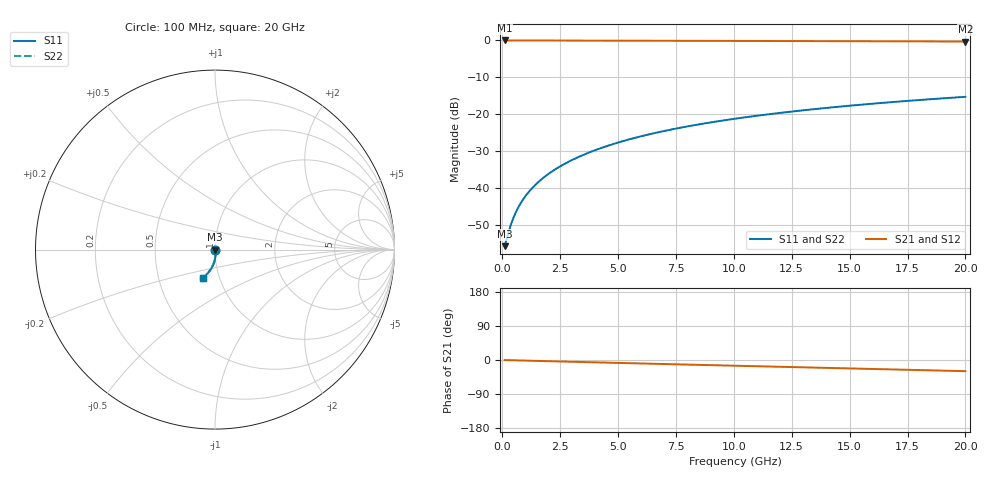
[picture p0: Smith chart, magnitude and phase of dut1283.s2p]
! Touchstone file exported from HFSS 2026.1.0
!  File:  C:/ffzhzh/LocalFiles/Ansys_Project_Files/temp_train_BSMRDL_1283_1783177887_43440.aedt
!  Generated:  11:12:34 PM Jul  4, 2026
!  Design:  BSMRDL
!  Project:  temp_train_BSMRDL_1283_1783177887_43440
! Variables:
!  h_bsmrdl = 5.25um
!  h_ox = 20um
!  h_rdl = 5um
!  h_sub = 80um
!  h_tmrdl = 5um
!  h_tsv = 80um
!  h_via = 3um
!  l_bsmrdl = 493.82um
!  l_sub = 893.82um
!  l_tmrdl = 200um
!  m_sub = 200um
!  pitch = 27.69um
!  r_tsv = 6um
!  s_tmrdl = 10um
!  w_bsmrdl = 25.41um
!  w_sub = 500um
!  w_tmrdl = 12um
!  x_tsv_center1 = 206um
!  x_tsv_center2 = 725.23um
!  x_tsv_center3 = 937.23um
!  x_tsv_center4 = 1456.46um
!  x_tsv_center5 = 1668.46um
!  x_tsv_center6 = 2187.69um
# GHz S MA R 50.000000
! Terminal data exported
! Port[1] = BSM_RDL1_1_T1
! Port[2] = BSM_RDL1_1_T2
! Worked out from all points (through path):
!   200 points, 100 MHz to 20 GHz, reference 50 ohm
!   highest |S21| = -0.01 dB at 100 MHz (marker M1); lowest = -0.3 dB at 20 GHz (marker M2)
!   group delay of S21, straight-line fit = 4.07 ps
!   lowest |S11| = -55.7 dB at 100 MHz (marker M3), VSWR 1.00, Z = 50.2 - j0.0219 ohm
!   |S11| at or under -10 dB: start of sweep to end of sweep
!   |S22| runs from -55.7 to -15.3 dB; largest |S21 - S12| = 2.6e-15
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0.1  0.001647 -7.6  0.9984 -0.2  0.9984 -0.2  0.001647 -7.6
! Gamma 0 0 0 0
! Port Impedance 50 0 50 0
0.3  0.002743 -30.7  0.9976 -0.5  0.9976 -0.5  0.002743 -30.7
0.4  0.003414 -40.1  0.9974 -0.7  0.9974 -0.7  0.003414 -40.1
0.5  0.004116 -47.5  0.9972 -0.8  0.9972 -0.8  0.004116 -47.5
0.6  0.004838 -53.1  0.997 -1.0  0.997 -1.0  0.004838 -53.1
0.7  0.005573 -57.5  0.9969 -1.1  0.9969 -1.1  0.005572 -57.5
0.9  0.00707 -63.8  0.9967 -1.4  0.9967 -1.4  0.007069 -63.9
1.2  0.009363 -69.7  0.9964 -1.9  0.9964 -1.9  0.009362 -69.8
1.4  0.01092 -72.4  0.9962 -2.2  0.9962 -2.2  0.01092 -72.4
1.7  0.01328 -75.2  0.9959 -2.7  0.9959 -2.7  0.01328 -75.2
2.2  0.01732 -78.4  0.9954 -3.5  0.9954 -3.5  0.01732 -78.4
2.8  0.0223 -80.9  0.9946 -4.4  0.9946 -4.4  0.0223 -81.0
3.5  0.02828 -83.2  0.9936 -5.4  0.9936 -5.4  0.02827 -83.2
4.2  0.0344 -85.0  0.9926 -6.5  0.9926 -6.5  0.0344 -85.1
5  0.04153 -87.0  0.9914 -7.7  0.9914 -7.7  0.04152 -87.0
5.9  0.04964 -89.0  0.9901 -9.0  0.9901 -9.0  0.04963 -89.0
6.8  0.0578 -90.9  0.9888 -10.4  0.9888 -10.4  0.05779 -91.0
8.3  0.07142 -93.9  0.9866 -12.6  0.9866 -12.6  0.0714 -94.0
10.1  0.08767 -97.3  0.9839 -15.2  0.9839 -15.2  0.08764 -97.4
13.4  0.1169 -103.0  0.9786 -20.0  0.9786 -20.0  0.1169 -103.2
16.7  0.1453 -108.4  0.9727 -24.8  0.9727 -24.8  0.1453 -108.6
20  0.1724 -113.6  0.9662 -29.5  0.9662 -29.5  0.1724 -113.7
